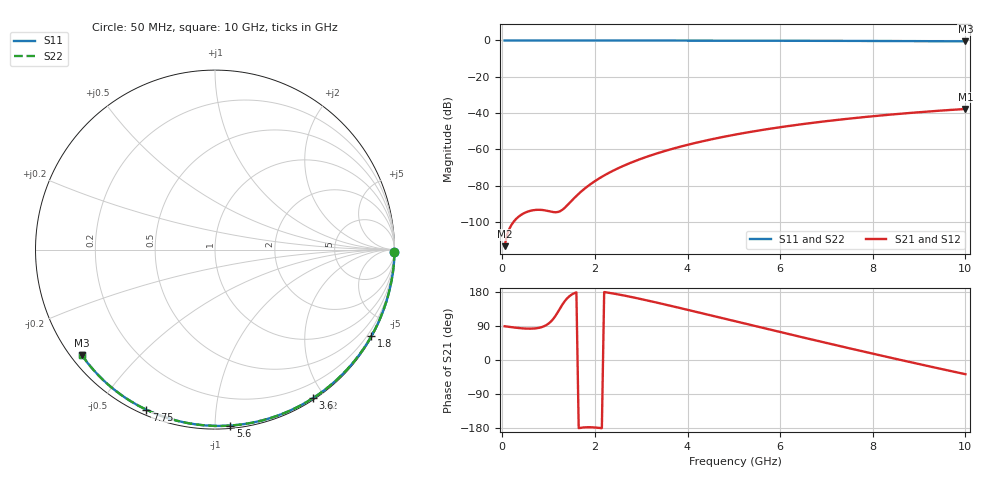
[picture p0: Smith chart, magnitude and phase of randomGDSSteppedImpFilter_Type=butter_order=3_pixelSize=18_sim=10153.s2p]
! freq	dB(S11)	phase(S11)	dB(S12)	phase(S12)
!  dB(S21)	phase(S21)	dB(S22)	phase(S22)
!S-par simulation data
#  GHz  S  DB  R 50
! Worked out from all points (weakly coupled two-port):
!   200 points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, 50 MHz to 10 GHz, reference 50 ohm
!   highest |S21| = -37.75 dB at 10 GHz (marker M1); lowest = -113.4 dB at 50 MHz (marker M2)
!   lowest |S11| = -0.5 dB at 10 GHz (marker M3), VSWR 36.32, Z = 1.54 - j17.4 ohm
!   |S11| at or under -10 dB: nowhere
!   |S22| runs from -0.5 to 0.0 dB; largest |S21 - S12| = 0
!   S11 on the Smith chart (normalised r, x): 50 MHz: open; 1.8 GHz: 0.03, -3.88; 3.6 GHz: 0.02, -1.86; 5.6 GHz: 0.02, -1.09; 7.75 GHz: 0.02, -0.66; 10 GHz: 0.03, -0.35
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0.05  -0.00 -0.8  -113.38 89.1  -113.38 89.1  -0.00 -0.8
0.45  -0.01 -7.3  -95.46 83.3  -95.46 83.3  -0.01 -7.3
0.9  -0.02 -14.6  -93.56 89.0  -93.56 89.0  -0.02 -14.6
1.75  -0.04 -28.1  -82.26 -178.0  -82.26 -178.0  -0.04 -28.1
1.8  -0.04 -28.9  -81.21 -177.5  -81.21 -177.5  -0.04 -28.9
1.85  -0.04 -29.7  -80.23 -177.3  -80.23 -177.3  -0.04 -29.7
2.2  -0.04 -35.2  -74.40 179.3  -74.40 179.3  -0.04 -35.2
2.35  -0.05 -37.5  -72.32 176.4  -72.32 176.4  -0.05 -37.5
2.55  -0.05 -40.6  -69.85 172.0  -69.85 172.0  -0.05 -40.6
2.95  -0.06 -46.7  -65.65 162.0  -65.65 162.0  -0.06 -46.7
3.4  -0.07 -53.5  -61.77 149.7  -61.77 149.7  -0.07 -53.5
3.6  -0.08 -56.5  -60.25 144.0  -60.25 144.0  -0.08 -56.5
3.9  -0.08 -60.9  -58.17 135.4  -58.17 135.4  -0.08 -60.9
4.3  -0.09 -66.7  -55.70 123.7  -55.70 123.7  -0.09 -66.7
5.05  -0.12 -77.4  -51.79 101.7  -51.79 101.7  -0.12 -77.4
5.6  -0.14 -85.0  -49.38 85.5  -49.38 85.5  -0.14 -85.0
6.15  -0.16 -92.4  -47.27 69.5  -47.27 69.5  -0.16 -92.4
6.7  -0.19 -99.7  -45.40 53.6  -45.40 53.6  -0.19 -99.7
7.75  -0.26 -113.3  -42.39 23.7  -42.39 23.7  -0.26 -113.3
8.35  -0.31 -120.9  -40.94 7.0  -40.94 7.0  -0.31 -120.9
9.2  -0.39 -131.6  -39.16 -16.2  -39.16 -16.2  -0.39 -131.6
10  -0.48 -141.7  -37.75 -37.5  -37.75 -37.5  -0.48 -141.7
